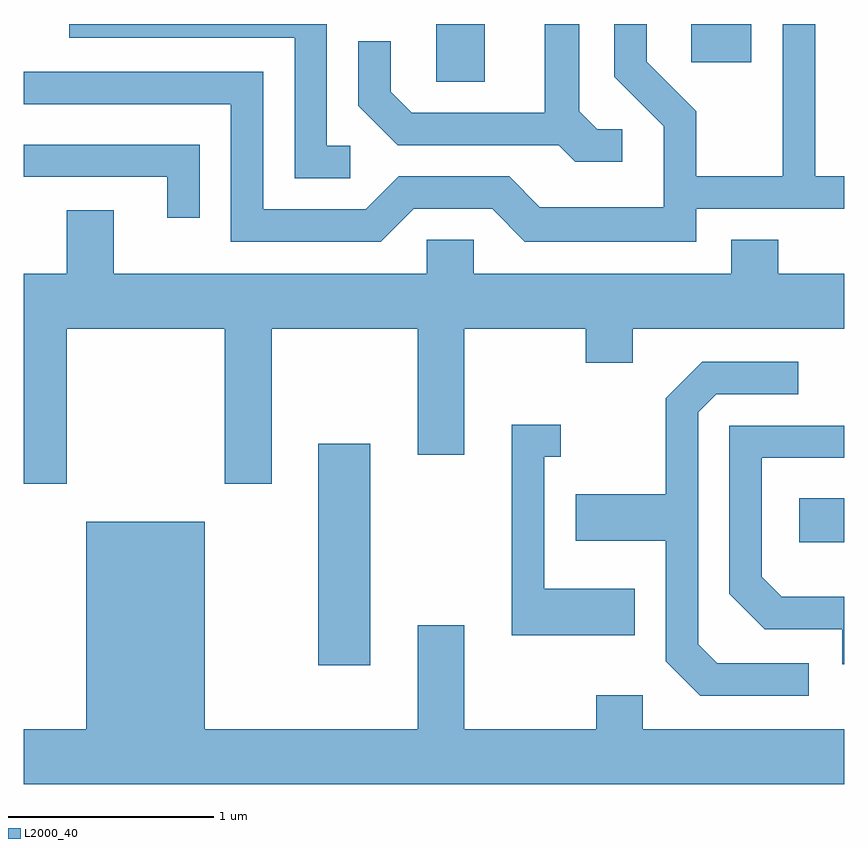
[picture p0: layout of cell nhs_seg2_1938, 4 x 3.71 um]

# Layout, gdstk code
import gdstk
lib = gdstk.Library(unit=1e-6, precision=1e-09)
def R(c, l, rs):  # rectangles x0, y0, x1, y1
    for r in rs: c.add(gdstk.rectangle(r[:2], r[2:], *l))
def P(c, l, *ps):  # polygons
    for p in ps: c.add(gdstk.Polygon(p, *l))
L2000_40 = (2000, 40)

nhs_seg2_1938 = lib.new_cell('nhs_seg2_1938')
R(nhs_seg2_1938, L2000_40, [(243.046,1046.676,243.299,1047.754), (245.391,1047.276,245.611,1047.489), (243.621,1049.521,243.859,1049.802), (244.866,1049.616,245.159,1049.802)])
P(nhs_seg2_1938, L2000_40, [(243.203,1049.209),(243.089,1049.209),(243.089,1049.802),(241.833,1049.802),(241.833,1049.736),(242.931,1049.736),(242.931,1049.051),(243.203,1049.051)],
  [(243.512,1048.901),(243.894,1048.901),(244.054,1048.741),(244.889,1048.741),(244.889,1048.901),(245.611,1048.901),(245.611,1049.059),(245.469,1049.059),(245.469,1049.802),(245.311,1049.802),(245.311,1049.059),(244.889,1049.059),(244.889,1049.377),(244.649,1049.617),(244.649,1049.802),(244.491,1049.802),(244.491,1049.544),(244.731,1049.304),(244.731,1048.909),(244.127,1048.909),(243.977,1049.059),(243.439,1049.059),(243.279,1048.899),(242.779,1048.899),(242.779,1049.569),(241.611,1049.569),(241.611,1049.411),(242.621,1049.411),(242.621,1048.741),(243.352,1048.741)],
  [(244.528,1049.289),(244.407,1049.289),(244.319,1049.377),(244.319,1049.802),(244.151,1049.802),(244.151,1049.369),(243.502,1049.369),(243.399,1049.472),(243.399,1049.718),(243.241,1049.718),(243.241,1049.404),(243.434,1049.211),(244.219,1049.211),(244.299,1049.131),(244.528,1049.131)],
  [(242.469,1049.214),(241.611,1049.214),(241.611,1049.056),(242.311,1049.056),(242.311,1048.858),(242.469,1048.858)],
  [(242.049,1048.894),(241.821,1048.894),(241.821,1048.584),(241.611,1048.584),(241.611,1047.561),(241.819,1047.561),(241.819,1048.316),(242.591,1048.316),(242.591,1047.561),(242.819,1047.561),(242.819,1048.316),(243.531,1048.316),(243.531,1047.701),(243.759,1047.701),(243.759,1048.316),(244.351,1048.316),(244.351,1048.151),(244.579,1048.151),(244.579,1048.316),(245.611,1048.316),(245.611,1048.584),(245.289,1048.584),(245.289,1048.749),(245.061,1048.749),(245.061,1048.584),(243.804,1048.584),(243.804,1048.749),(243.576,1048.749),(243.576,1048.584),(242.049,1048.584)],
  [(245.438,1046.684),(244.992,1046.684),(244.899,1046.777),(244.899,1047.909),(244.987,1047.996),(245.388,1047.996),(245.388,1048.154),(244.919,1048.154),(244.741,1047.977),(244.741,1047.509),(244.301,1047.509),(244.301,1047.281),(244.741,1047.281),(244.741,1046.694),(244.909,1046.526),(245.438,1046.526)],
  [(244.589,1047.049),(244.149,1047.049),(244.149,1047.691),(244.228,1047.691),(244.228,1047.849),(243.991,1047.849),(243.991,1046.821),(244.589,1046.821)],
  [(245.611,1047.009),(245.307,1047.009),(245.209,1047.107),(245.209,1047.686),(245.611,1047.686),(245.611,1047.844),(245.051,1047.844),(245.051,1047.024),(245.224,1046.851),(245.601,1046.851),(245.601,1046.681),(245.611,1046.681)],
  [(245.611,1046.364),(244.629,1046.364),(244.629,1046.529),(244.401,1046.529),(244.401,1046.364),(243.759,1046.364),(243.759,1046.869),(243.531,1046.869),(243.531,1046.364),(242.494,1046.364),(242.494,1047.374),(241.916,1047.374),(241.916,1046.364),(241.611,1046.364),(241.611,1046.096),(245.611,1046.096)])

lib.write_gds('nhs_seg2_1938.gds')
